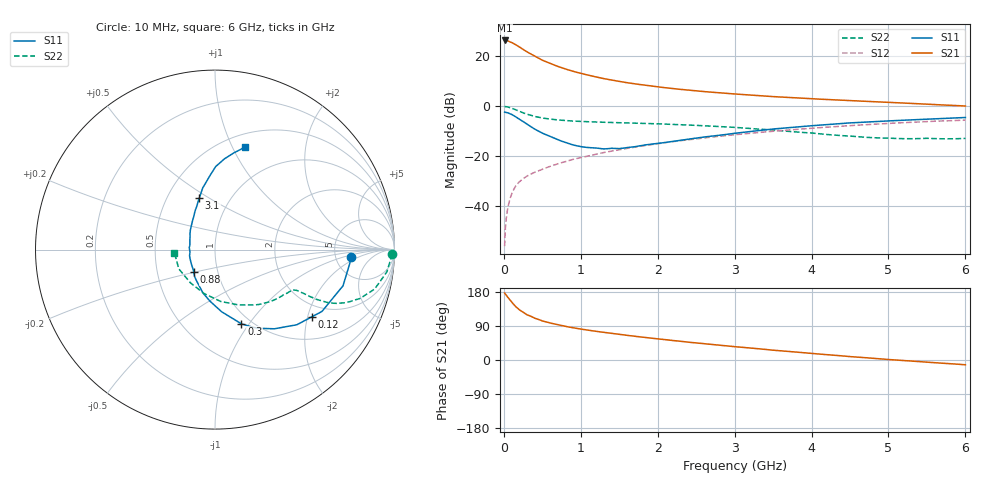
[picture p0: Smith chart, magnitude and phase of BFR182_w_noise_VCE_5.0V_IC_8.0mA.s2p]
! Infineon Technologies  Discrete & RF Semiconductors
! BFR182
! VCE =  5.0 V,  IC =  8.0 mA
! Common Emitter S-Parameters:  Nov 2015
# GHz  S  MA  R  50
!  f  S11  S21  S12  S22
! GHz  MAG  ANG  MAG  ANG  MAG  ANG  MAG  ANG
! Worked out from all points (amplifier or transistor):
!   210 points, 10 MHz to 6 GHz, reference 50 ohm
!   highest |S21| = 26.2 dB at 10 MHz (marker M1)
!   |S21| within 3 dB of that: start of sweep to 222.6 MHz
!   unconditionally stable (mu >= 1): 894.3 MHz to 2.738 GHz
!   at 185 MHz: K = 0.44, MSG = 27.4 dB, |S12| = -30.8 dB
!   at 1.52 GHz: K = 1.05, MAG = 12.2 dB, |S12| = -17.3 dB
!   at 6 GHz: K = 0.89, MSG = 2.8 dB, |S12| = -5.6 dB
!   lowest NFmin = 1.40 dB at 450 MHz
!   S11 on the Smith chart (normalised r, x): 10 MHz: 7.03, -1.41; 120 MHz: 1.62, -2.13; 300 MHz: 0.90, -0.92; 880 MHz: 0.77, -0.20; 3.1 GHz: 0.72, +0.45; 6 GHz: 0.63, +1.12
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0.01  0.7595 -3.2  20.51 176.8  0.0016 86.6  0.9841 -1.4
0.025  0.751 -7.5  20.19 172.7  0.0046 82.2  0.9782 -3.7
0.05  0.7412 -15.8  20.16 165.9  0.009 81.4  0.9655 -7.4
0.1  0.6885 -30.0  18.82 153.3  0.0174 75.3  0.9163 -13.9
0.12  0.6571 -34.7  18.02 148.9  0.0204 72.8  0.8896 -15.7
0.15  0.6193 -42.5  17.04 141.6  0.0249 70.2  0.8514 -18.7
0.2  0.5517 -53.1  15.34 132.8  0.0307 68.5  0.7888 -22.0
0.24  0.5045 -60.4  13.92 127.1  0.0345 66.2  0.7458 -23.7
0.3  0.4389 -70.4  12.16 119.5  0.0401 65.3  0.6921 -25.2
0.4  0.3489 -83.8  9.976 110.5  0.0477 64.7  0.6235 -26.2
0.5  0.2893 -95.4  8.276 103.1  0.0547 64.9  0.5792 -26.3
0.6  0.2503 -105.7  7.118 97.7  0.0627 65.1  0.5515 -26.3
0.7  0.2138 -116.1  6.231 92.9  0.0705 65.9  0.5312 -26.4
0.88  0.172 -133.2  5.067 85.7  0.0849 66.1  0.5062 -26.6
1.02  0.1541 -148.6  4.442 81.0  0.0955 66.6  0.4934 -27.2
1.4  0.144 175.5  3.312 70.3  0.1265 66.0  0.4722 -30.5
2.02  0.1817 137.6  2.408 55.4  0.1799 62.8  0.4429 -37.8
2.42  0.221 122.1  2.076 46.6  0.2154 60.0  0.4195 -44.0
3.1  0.2988 107.1  1.708 33.5  0.2779 53.8  0.3674 -57.1
4.1  0.4174 93.5  1.382 15.7  0.3715 43.4  0.2807 -87.1
5.1  0.5161 83.0  1.174 -0.0  0.4611 31.3  0.2263 -131.5
6  0.5937 73.8  1.008 -12.6  0.5253 19.0  0.2269 -175.7
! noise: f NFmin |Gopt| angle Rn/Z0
0.45  1.4  0.26  41  0.29
0.9  1.5  0.25  83  0.23
1.8  2  0.21  162  0.2
